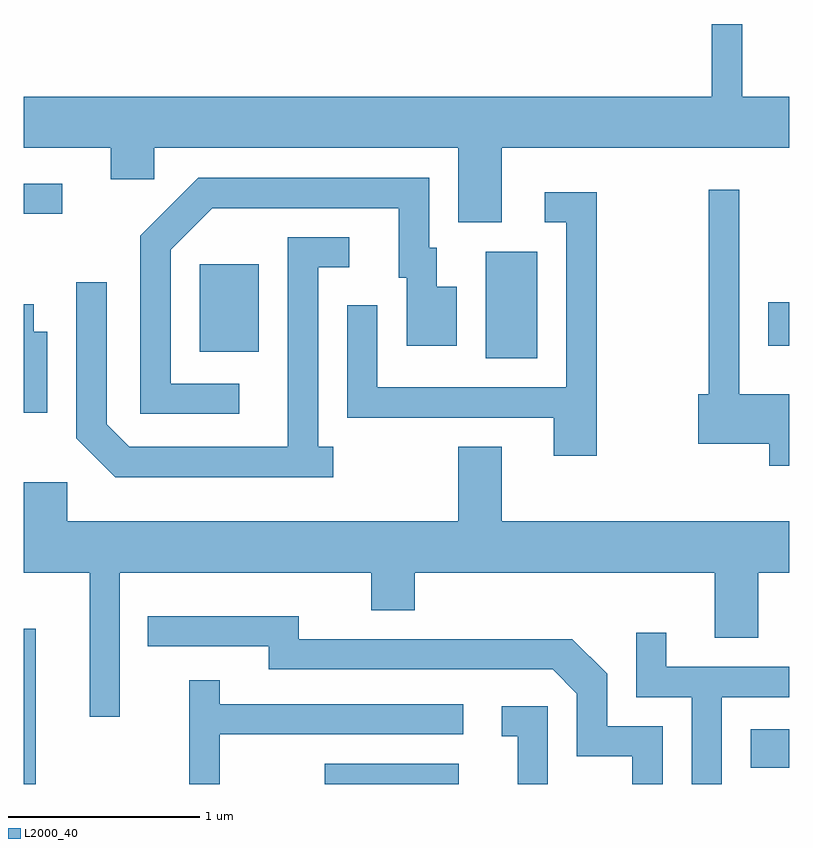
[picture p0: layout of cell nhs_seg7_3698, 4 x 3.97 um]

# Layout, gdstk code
import gdstk
lib = gdstk.Library(unit=1e-6, precision=1e-09)
def R(c, l, rs):  # rectangles x0, y0, x1, y1
    for r in rs: c.add(gdstk.rectangle(r[:2], r[2:], *l))
def P(c, l, *ps):  # polygons
    for p in ps: c.add(gdstk.Polygon(p, *l))
L2000_40 = (2000, 40)

nhs_seg7_3698 = lib.new_cell('nhs_seg7_3698')
R(nhs_seg7_3698, L2000_40, [(297.611,1784.252,297.674,1785.064), (299.183,1784.252,299.884,1784.359), (301.411,1784.336,301.611,1784.539), (300.026,1786.476,300.294,1787.034), (298.531,1786.511,298.839,1786.969), (301.501,1786.541,301.611,1786.769), (297.611,1787.231,297.813,1787.389)])
P(nhs_seg7_3698, L2000_40, [(297.611,1787.576),(298.066,1787.576),(298.066,1787.411),(298.294,1787.411),(298.294,1787.576),(299.881,1787.576),(299.881,1787.186),(300.109,1787.186),(300.109,1787.576),(301.611,1787.576),(301.611,1787.844),(301.364,1787.844),(301.364,1788.223),(301.206,1788.223),(301.206,1787.844),(297.611,1787.844)],
  [(298.738,1786.344),(298.379,1786.344),(298.379,1787.044),(298.597,1787.261),(299.571,1787.261),(299.571,1786.896),(299.611,1786.896),(299.611,1786.541),(299.874,1786.541),(299.874,1786.849),(299.769,1786.849),(299.769,1787.054),(299.729,1787.054),(299.729,1787.419),(298.524,1787.419),(298.221,1787.117),(298.221,1786.186),(298.738,1786.186)],
  [(301.611,1786.289),(301.349,1786.289),(301.349,1787.358),(301.191,1787.358),(301.191,1786.289),(301.136,1786.289),(301.136,1786.031),(301.506,1786.031),(301.506,1785.916),(301.611,1785.916)],
  [(300.604,1787.344),(300.333,1787.344),(300.333,1787.186),(300.446,1787.186),(300.446,1786.324),(299.459,1786.324),(299.459,1786.753),(299.301,1786.753),(299.301,1786.166),(300.381,1786.166),(300.381,1785.966),(300.604,1785.966)],
  [(299.228,1786.014),(299.149,1786.014),(299.149,1786.951),(299.313,1786.951),(299.313,1787.109),(298.991,1787.109),(298.991,1786.014),(298.162,1786.014),(298.044,1786.132),(298.044,1786.873),(297.886,1786.873),(297.886,1786.059),(298.089,1785.856),(299.228,1785.856)],
  [(297.734,1786.614),(297.664,1786.614),(297.664,1786.759),(297.611,1786.759),(297.611,1786.191),(297.734,1786.191)],
  [(298.114,1785.356),(299.426,1785.356),(299.426,1785.161),(299.654,1785.161),(299.654,1785.356),(301.221,1785.356),(301.221,1785.016),(301.449,1785.016),(301.449,1785.356),(301.611,1785.356),(301.611,1785.624),(300.109,1785.624),(300.109,1786.014),(299.881,1786.014),(299.881,1785.624),(297.839,1785.624),(297.839,1785.829),(297.611,1785.829),(297.611,1785.356),(297.956,1785.356),(297.956,1784.603),(298.114,1784.603)],
  [(300.949,1784.554),(300.659,1784.554),(300.659,1784.827),(300.477,1785.009),(299.049,1785.009),(299.049,1785.129),(298.258,1785.129),(298.258,1784.971),(298.891,1784.971),(298.891,1784.851),(300.374,1784.851),(300.501,1784.724),(300.501,1784.396),(300.791,1784.396),(300.791,1784.252),(300.949,1784.252)],
  [(301.259,1784.706),(301.611,1784.706),(301.611,1784.864),(300.969,1784.864),(300.969,1785.043),(300.811,1785.043),(300.811,1784.706),(301.101,1784.706),(301.101,1784.252),(301.259,1784.252)],
  [(298.634,1784.511),(299.908,1784.511),(299.908,1784.669),(298.634,1784.669),(298.634,1784.793),(298.476,1784.793),(298.476,1784.252),(298.634,1784.252)],
  [(300.349,1784.659),(300.108,1784.659),(300.108,1784.501),(300.191,1784.501),(300.191,1784.252),(300.349,1784.252)])

lib.write_gds('nhs_seg7_3698.gds')
